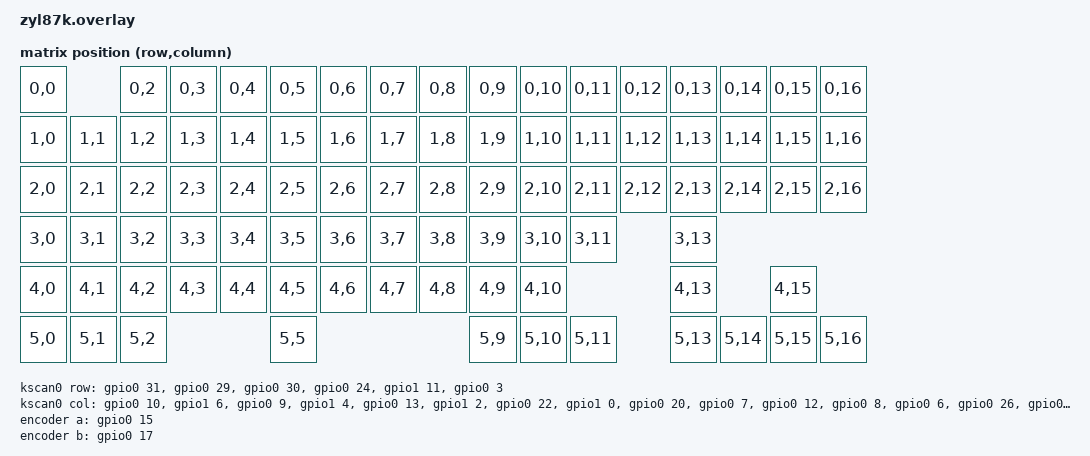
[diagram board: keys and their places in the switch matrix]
#include <dt-bindings/zmk/matrix_transform.h>
#include <dt-bindings/led/led.h>

/ {
    chosen {
        zmk,kscan = &kscan0;
		zmk,battery = &vbatt;
		zmk,underglow = &led_strip;
        zmk,matrix_transform = &default_transform;
    };

    kscan0: kscan {
        compatible = "zmk,kscan-gpio-matrix";
        label = "KSCAN";
        diode-direction = "col2row";
        row-gpios
            = <&gpio0 31 (GPIO_ACTIVE_HIGH | GPIO_PULL_DOWN)>
            , <&gpio0 29 (GPIO_ACTIVE_HIGH | GPIO_PULL_DOWN)>
            , <&gpio0 30 (GPIO_ACTIVE_HIGH | GPIO_PULL_DOWN)>
            , <&gpio0 24 (GPIO_ACTIVE_HIGH | GPIO_PULL_DOWN)>
            , <&gpio1 11 (GPIO_ACTIVE_HIGH | GPIO_PULL_DOWN)>
            , <&gpio0 3 (GPIO_ACTIVE_HIGH | GPIO_PULL_DOWN)>
            ;  
        col-gpios
            = <&gpio0 10 GPIO_ACTIVE_HIGH>
            , <&gpio1 6 GPIO_ACTIVE_HIGH>
            , <&gpio0 9 GPIO_ACTIVE_HIGH>
            , <&gpio1 4 GPIO_ACTIVE_HIGH>
            , <&gpio0 13 GPIO_ACTIVE_HIGH>
            , <&gpio1 2 GPIO_ACTIVE_HIGH>
            , <&gpio0 22 GPIO_ACTIVE_HIGH>
            , <&gpio1 0 GPIO_ACTIVE_HIGH>
            , <&gpio0 20 GPIO_ACTIVE_HIGH>
            , <&gpio0 7 GPIO_ACTIVE_HIGH>
            , <&gpio0 12 GPIO_ACTIVE_HIGH>
            , <&gpio0 8 GPIO_ACTIVE_HIGH>
            , <&gpio0 6 GPIO_ACTIVE_HIGH>
            , <&gpio0 26 GPIO_ACTIVE_HIGH>
            , <&gpio0 28 GPIO_ACTIVE_HIGH>
            , <&gpio1 13 GPIO_ACTIVE_HIGH>
            , <&gpio0 2 GPIO_ACTIVE_HIGH>
            ;
    };

	vbatt: vbatt {
        compatible = "zmk,battery-voltage-divider";
        io-channels = <&adc 2>;           /* AIN2 = P0.04，若用 AIN0 则改为 <&adc 0> */
        output-ohms = <2000000>;          /* R2 = 2MΩ（下拉电阻） */
        full-ohms = <2820000>;            /* R1+R2 = 806k+2M = 2.806MΩ */
    };

    default_transform: keymap_transform_0 {
        compatible = "zmk,matrix-transform";
        columns = <17>;
        rows = <6>;
        map = <
            RC(0,0)          RC(0,2) RC(0,3) RC(0,4) RC(0,5) RC(0,6) RC(0,7) RC(0,8) RC(0,9) RC(0,10) RC(0,11) RC(0,12) RC(0,13) RC(0,14) RC(0,15) RC(0,16) 
            RC(1,0)  RC(1,1) RC(1,2) RC(1,3) RC(1,4) RC(1,5) RC(1,6) RC(1,7) RC(1,8) RC(1,9) RC(1,10) RC(1,11) RC(1,12) RC(1,13) RC(1,14) RC(1,15) RC(1,16) 
            RC(2,0)  RC(2,1) RC(2,2) RC(2,3) RC(2,4) RC(2,5) RC(2,6) RC(2,7) RC(2,8) RC(2,9) RC(2,10) RC(2,11) RC(2,12) RC(2,13) RC(2,14) RC(2,15) RC(2,16) 
            RC(3,0)  RC(3,1) RC(3,2) RC(3,3) RC(3,4) RC(3,5) RC(3,6) RC(3,7) RC(3,8) RC(3,9) RC(3,10) RC(3,11)          RC(3,13) 
            RC(4,0)  RC(4,1) RC(4,2) RC(4,3) RC(4,4) RC(4,5) RC(4,6) RC(4,7) RC(4,8) RC(4,9) RC(4,10)                   RC(4,13)          RC(4,15) 
            RC(5,0)  RC(5,1) RC(5,2)                 RC(5,5)         	             RC(5,9) RC(5,10) RC(5,11)          RC(5,13) RC(5,14) RC(5,15) RC(5,16) 
        >;
	};

	encoder: encoder {
        	compatible = "alps,ec11";
        	a-gpios = <&gpio0 15 (GPIO_ACTIVE_HIGH | GPIO_PULL_UP)>;
        	b-gpios = <&gpio0 17 (GPIO_ACTIVE_HIGH | GPIO_PULL_UP)>;
        	steps = <80>;
        	status = "okay";
	};

    sensors: sensors {
        	compatible = "zmk,keymap-sensors";
        	sensors = <&encoder>;
        	triggers-per-rotation = <20>;
    };
	
};

&pinctrl {
    spi3_default: spi3_default {
        group1 {
            psels = <NRF_PSEL(SPIM_MOSI, 1, 10)>;
        };
    };

    spi3_sleep: spi3_sleep {
        group1 {
            psels = <NRF_PSEL(SPIM_MOSI, 1, 10)>;
            low-power-enable;
        };
    };
};

&spi3 {
    compatible = "nordic,nrf-spim";
    status = "okay";

    pinctrl-0 = <&spi3_default>;
    pinctrl-1 = <&spi3_sleep>;
    pinctrl-names = "default", "sleep";

    led_strip: ws2812@0 {
        compatible = "worldsemi,ws2812-spi";

        /* SPI */
        reg = <0>; /* ignored, but necessary for SPI bindings */
        spi-max-frequency = <4000000>;

        /* WS2812 */
        chain-length = <10>; /* number of LEDs */
        spi-one-frame = <0x70>;
        spi-zero-frame = <0x40>;
        color-mapping = <LED_COLOR_ID_GREEN
                         LED_COLOR_ID_RED
                         LED_COLOR_ID_BLUE>;
    };
};
